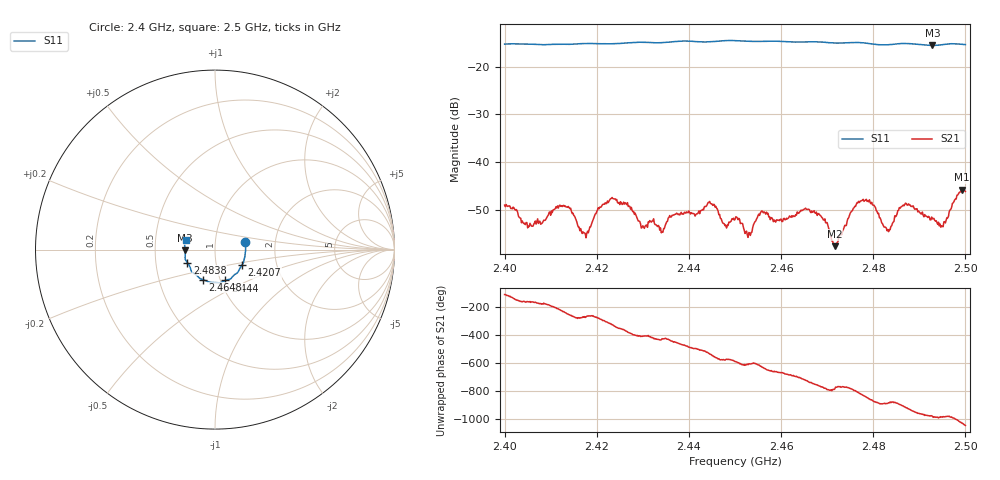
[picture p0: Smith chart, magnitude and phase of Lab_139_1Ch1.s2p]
# Hz S RI R 50
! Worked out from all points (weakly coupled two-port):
!   601 points, 2.4 GHz to 2.5 GHz, reference 50 ohm
!   highest |S21| = -45.78 dB at 2.4992 GHz (marker M1); lowest = -57.6 dB at 2.4717 GHz (marker M2)
!   lowest |S11| = -15.6 dB at 2.4928 GHz (marker M3), VSWR 1.40, Z = 35.7 - j0.326 ohm
!   |S11| at or under -10 dB: start of sweep to end of sweep
!   S12 and S22 are empty: the file has one direction only
!   S11 on the Smith chart (normalised r, x): 2.4 GHz: 1.39, +0.12; 2.4207 GHz: 1.33, -0.24; 2.444 GHz: 1.05, -0.37; 2.4648 GHz: 0.83, -0.29; 2.4838 GHz: 0.73, -0.11; 2.5 GHz: 0.72, +0.08
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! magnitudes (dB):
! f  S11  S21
! 2.4 GHz  -15.3  -49.0
! 2.4055 GHz  -15.3  -52.8
! 2.4133 GHz  -15.4  -49.4
! 2.4167 GHz  -15.2  -54.5
! 2.4207 GHz  -15.2  -49.4
! 2.4238 GHz  -15.2  -47.7
! 2.4333 GHz  -15.0  -53.3
! 2.444 GHz  -14.8  -48.8
! 2.45 GHz  -14.6  -52.0
! 2.4532 GHz  -14.7  -54.9
! 2.456 GHz  -14.7  -50.4
! 2.4648 GHz  -14.9  -49.9
! 2.4667 GHz  -14.8  -50.2
! 2.4717 GHz  -15.1  -57.6
! 2.4773 GHz  -15.0  -48.1
! 2.4833 GHz  -15.4  -54.6
! 2.4838 GHz  -15.4  -53.5
! 2.4868 GHz  -15.2  -48.9
! 2.4928 GHz  -15.6  -51.9
! 2.4952 GHz  -15.4  -53.5
! 2.4992 GHz  -15.3  -45.8
! 2.5 GHz  -15.4  -46.2
